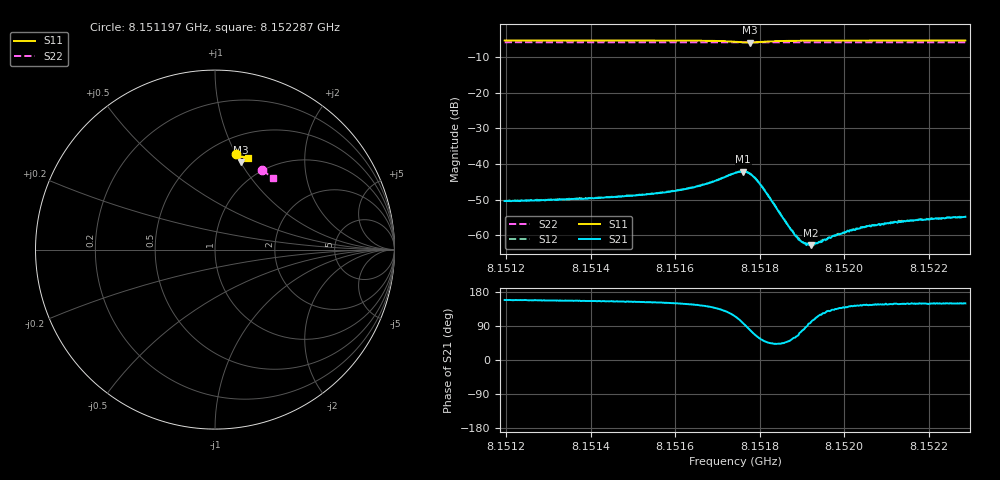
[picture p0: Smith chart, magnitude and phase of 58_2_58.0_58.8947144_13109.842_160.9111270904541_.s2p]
#  HZ  S  RI  R  50.00
! Rohde & Schwarz Vector Network Analyzer
! Rohde-Schwarz,ZNB20-2Port,1311601062101988,3.16
! Created: UTC 3/21/2024, 12:52:52 AM
! freq[Hz]  re:S11  im:S11  re:S21  im:S21  re:S12  im:S12  re:S22  im:S22
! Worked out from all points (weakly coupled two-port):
!   401 points, 8.151197 GHz to 8.152287 GHz, reference 50 ohm
!   highest |S21| = -42.09 dB at 8.151761 GHz (marker M1); lowest = -62.8 dB at 8.151922 GHz (marker M2)
!   lowest |S11| = -5.9 dB at 8.151777 GHz (marker M3), VSWR 3.08, Z = 38.2 + j50.3 ohm
!   |S11| at or under -10 dB: nowhere
!   |S22| runs from -5.8 to -5.8 dB; largest |S21 - S12| = 0.00015
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8.1511966e9  0.1188 0.5301  -0.00281 0.00111  -0.00283 0.00116  0.264 0.4411
8.1513793e9  0.1326 0.527  -0.00299 0.00134  -0.00299 0.00138  0.274 0.4348
8.1515619e9  0.1478 0.5224  -0.00346 0.00187  -0.00346 0.0019  0.2836 0.4281
8.1516137e9  0.153 0.52  -0.0037 0.00225  -0.00372 0.00231  0.2866 0.426
8.1516601e9  0.1584 0.5164  -0.004 0.00292  -0.00406 0.003  0.2891 0.4242
8.1517418e9  0.1637 0.4955  -0.00322 0.00679  -0.0031 0.00684  0.293 0.4205
8.1517609e9  0.1555 0.4882  -0.00101 0.00779  -0.000959 0.00785  0.2935 0.4196
8.1517773e9  0.1446 0.4884  0.00136 0.00717  0.00147 0.00721  0.294 0.4193
8.1517909e9  0.1378 0.4945  0.00264 0.0056  0.00272 0.00566  0.2945 0.4192
8.1518045e9  0.1358 0.502  0.00289 0.00397  0.00299 0.00398  0.2953 0.4188
8.15187e9  0.1471 0.5171  0.000842 0.000997  0.000869 0.00101  0.2991 0.4168
8.151889e9  0.1504 0.5179  0.000422 0.00084  0.000416 0.000833  0.3002 0.4162
8.1519027e9  0.1524 0.5182  0.000148 0.000786  0.000143 0.00077  0.3009 0.4157
8.1519163e9  0.1542 0.5184  -8.11e-05 0.000732  -4.71e-05 0.000744  0.3017 0.4149
8.1519217e9  0.1549 0.5185  -0.000126 0.000714  -0.000151 0.000746  0.3021 0.4149
8.1519245e9  0.1552 0.5185  -0.000175 0.000713  -0.000143 0.000688  0.3019 0.4148
8.1519872e9  0.1623 0.518  -0.000747 0.00071  -0.000744 0.000733  0.3055 0.4122
8.1520172e9  0.1652 0.5174  -0.000926 0.000704  -0.000933 0.000739  0.307 0.411
8.1520553e9  0.1685 0.5169  -0.0011 0.000771  -0.00107 0.000753  0.309 0.4096
8.1521071e9  0.1729 0.5159  -0.00126 0.000811  -0.00123 0.000817  0.3116 0.4075
8.1521889e9  0.1791 0.514  -0.00142 0.000849  -0.00145 0.000903  0.3157 0.4041
8.152287e9  0.1863 0.5118  -0.00157 0.000925  -0.00157 0.00093  0.3207 0.4001
